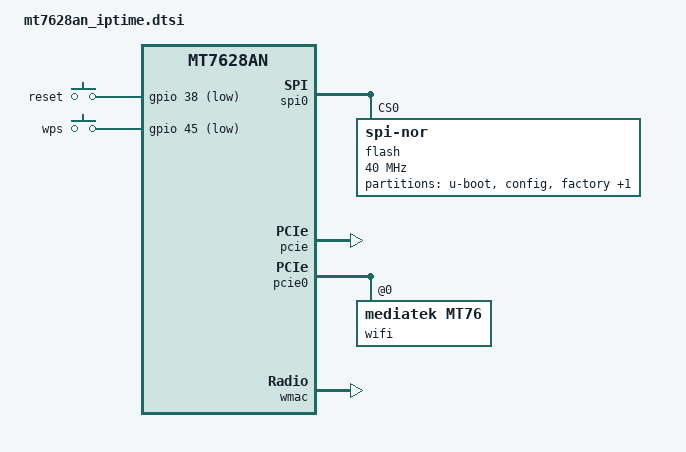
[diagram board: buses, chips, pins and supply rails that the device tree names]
// SPDX-License-Identifier: GPL-2.0-or-later OR MIT

#include "mt7628an.dtsi"

#include <dt-bindings/gpio/gpio.h>
#include <dt-bindings/input/input.h>

/ {
	aliases {
		label-mac-device = &ethernet;
	};

	keys {
		compatible = "gpio-keys";

		reset {
			label = "reset";
			gpios = <&gpio 38 GPIO_ACTIVE_LOW>;
			linux,code = <KEY_RESTART>;
			debounce-interval = <60>;
		};

		wps {
			label = "wps";
			gpios = <&gpio 45 GPIO_ACTIVE_LOW>;
			linux,code = <KEY_WPS_BUTTON>;
			debounce-interval = <60>;
		};
	};
};

&spi0 {
	status = "okay";

	flash@0 {
		compatible = "jedec,spi-nor";
		reg = <0>;
		spi-max-frequency = <40000000>;

		partitions {
			compatible = "fixed-partitions";
			#address-cells = <1>;
			#size-cells = <1>;

			uboot: partition@0 {
				label = "u-boot";
				reg = <0x0 0x20000>;
				read-only;
			};

			partition@20000 {
				label = "config";
				reg = <0x20000 0x10000>;
				read-only;
			};

			factory: partition@30000 {
				label = "factory";
				reg = <0x30000 0x10000>;
				read-only;
			};

			partition@40000 {
				compatible = "denx,uimage";
				label = "firmware";
				reg = <0x40000 0x7c0000>;
			};
		};
	};
};

&state_default {
	gpio {
		groups = "uart1", "wdt";
		function = "gpio";
	};
};

&ehci {
	status = "disabled";
};

&ohci {
	status = "disabled";
};

&ethernet {
	nvmem-cells = <&macaddr_uboot_1fc20>;
	nvmem-cell-names = "mac-address";
};

&pcie {
	status = "okay";
};

&pcie0 {
	wifi@0,0 {
		compatible = "mediatek,mt76";
		reg = <0x0000 0 0 0 0>;
		mediatek,mtd-eeprom = <&factory 0x8000>;
		ieee80211-freq-limit = <5000000 6000000>;
	};
};

&wmac {
	status = "okay";

	mediatek,mtd-eeprom = <&factory 0x0>;
};

&uboot {
	compatible = "nvmem-cells";
	#address-cells = <1>;
	#size-cells = <1>;

	macaddr_uboot_1fc20: macaddr@1fc20 {
		reg = <0x1fc20 0x6>;
	};
};
